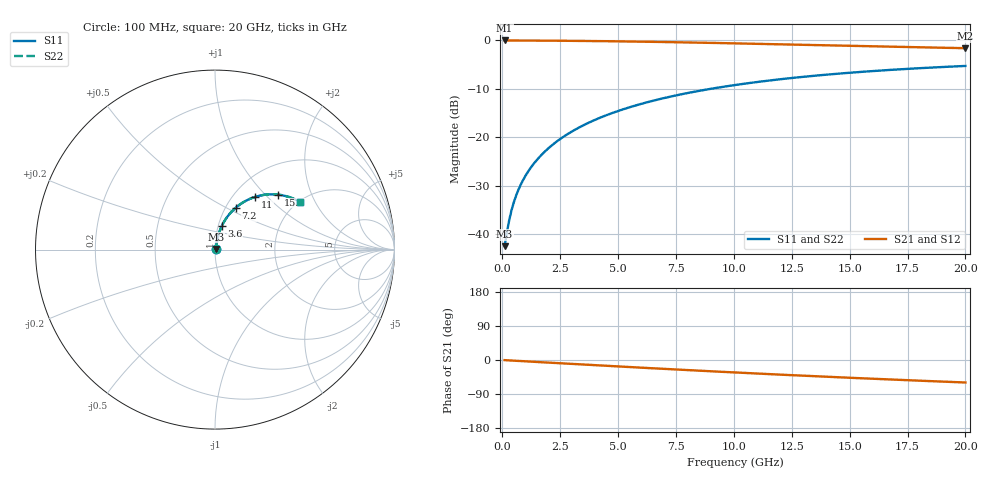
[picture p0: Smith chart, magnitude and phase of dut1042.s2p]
! Touchstone file exported from HFSS 2026.1.0
!  File:  C:/ffzhzh/LocalFiles/Ansys_Project_Files/temp_train_TMRDL_1042_1783160223_55132.aedt
!  Generated:  06:18:38 PM Jul  4, 2026
!  Design:  TMRDL
!  Project:  temp_train_TMRDL_1042_1783160223_55132
! Variables:
!  h_bsmrdl = 2um
!  h_ox = 20um
!  h_rdl = 5um
!  h_sub = 80um
!  h_tmrdl = 2.33um
!  h_tsv = 80um
!  h_via = 3um
!  l_bsmrdl = 300um
!  l_sub = 1288.73um
!  l_tmrdl = 888.73um
!  m_sub = 200um
!  pitch = 56.04um
!  r_tsv = 6um
!  s_tmrdl = 10um
!  w_bsmrdl = 18um
!  w_sub = 500um
!  w_tmrdl = 22.21um
!  x_tsv_center1 = 899.835um
!  x_tsv_center2 = 1217.835um
!  x_tsv_center3 = 2128.775um
!  x_tsv_center4 = 2446.775um
!  x_tsv_center5 = 3357.715um
!  x_tsv_center6 = 3675.715um
# GHz S MA R 50.000000
! Terminal data exported
! Port[1] = TM_RDL1_1_T1
! Port[2] = TM_RDL1_1_T2
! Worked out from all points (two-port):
!   200 points, 100 MHz to 20 GHz, reference 50 ohm
!   highest |S21| = -0.05 dB at 100 MHz (marker M1); lowest = -1.6 dB at 20 GHz (marker M2)
!   |S21| within 3 dB of the highest: start of sweep to end of sweep
!   lowest |S11| = -42.5 dB at 100 MHz (marker M3), VSWR 1.02, Z = 50.6 + j0.419 ohm
!   |S11| at or under -10 dB: start of sweep to 9.035 GHz
!   |S22| runs from -42.5 to -5.3 dB; largest |S21 - S12| = 3e-15
!   S11 on the Smith chart (normalised r, x): 100 MHz: 1.01, +0.01; 3.6 GHz: 1.04, +0.28; 7.2 GHz: 1.11, +0.56; 11 GHz: 1.26, +0.86; 15.3 GHz: 1.53, +1.20; 20 GHz: 2.03, +1.53
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0.1  0.007527 33.4  0.9937 -0.4  0.9937 -0.4  0.007527 33.4
! Gamma 0 0 0 0
! Port Impedance 50 0 50 0
0.2  0.01049 51.6  0.9935 -0.7  0.9935 -0.7  0.01049 51.6
0.3  0.01401 60.7  0.9933 -1.1  0.9933 -1.1  0.01401 60.7
0.4  0.01769 65.7  0.993 -1.4  0.993 -1.4  0.01769 65.7
0.5  0.0214 68.9  0.9927 -1.8  0.9927 -1.8  0.0214 68.9
0.6  0.02511 71.0  0.9924 -2.1  0.9924 -2.1  0.02511 71.0
0.8  0.03252 73.7  0.9919 -2.8  0.9919 -2.8  0.03252 73.7
1.1  0.04365 75.8  0.9912 -3.8  0.9912 -3.8  0.04365 75.8
1.6  0.06228 76.9  0.99 -5.5  0.99 -5.5  0.06228 76.9
2.1  0.08093 76.9  0.9884 -7.2  0.9884 -7.2  0.08093 76.9
2.7  0.1032 76.0  0.9862 -9.3  0.9862 -9.3  0.1032 76.0
3.5  0.1326 74.2  0.9825 -12.0  0.9825 -12.0  0.1326 74.3
3.6  0.1363 74.0  0.982 -12.3  0.982 -12.3  0.1363 74.0
5  0.1862 70.2  0.9734 -17.0  0.9734 -17.0  0.1862 70.2
6.8  0.2471 64.9  0.9592 -22.8  0.9592 -22.8  0.2471 64.9
7.2  0.26 63.7  0.9557 -24.1  0.9557 -24.1  0.26 63.7
10.1  0.3464 55.1  0.9272 -33.1  0.9272 -33.1  0.3464 55.2
11  0.3705 52.5  0.9176 -35.7  0.9176 -35.7  0.3705 52.6
13.4  0.4282 45.9  0.8918 -42.5  0.8918 -42.5  0.4282 45.9
15.3  0.4675 40.9  0.8717 -47.7  0.8717 -47.7  0.4675 40.9
16.7  0.493 37.3  0.8576 -51.3  0.8576 -51.3  0.493 37.4
20  0.5426 29.3  0.8273 -59.4  0.8273 -59.4  0.5426 29.4
